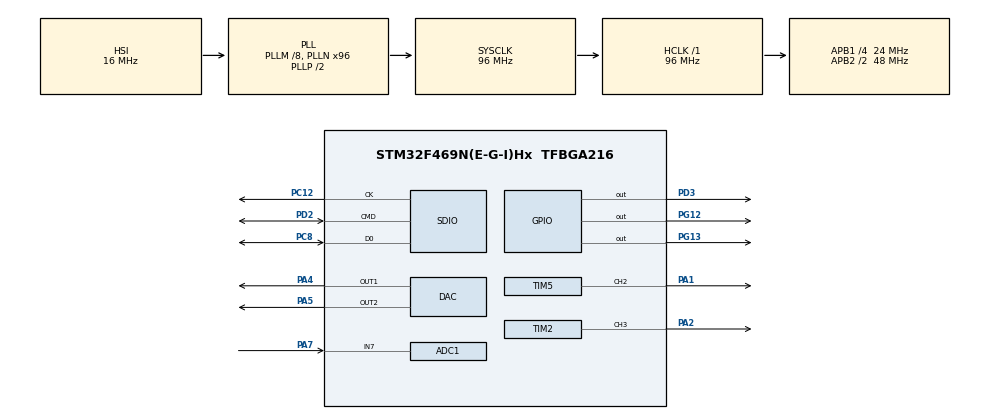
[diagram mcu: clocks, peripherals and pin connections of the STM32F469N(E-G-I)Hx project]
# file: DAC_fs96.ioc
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ADC1.Channel-0\#ChannelRegularConversion=ADC_CHANNEL_7
ADC1.NbrOfConversionFlag=1
ADC1.Rank-0\#ChannelRegularConversion=1
ADC1.SamplingTime-0\#ChannelRegularConversion=ADC_SAMPLETIME_3CYCLES
ADC1.master=1
DAC.DAC_Trigger=DAC_TRIGGER_T4_TRGO
DAC.DAC_Trigger2=DAC_TRIGGER_T4_TRGO
Dma.DAC1.0.Direction=DMA_MEMORY_TO_PERIPH
Dma.DAC1.0.FIFOMode=DMA_FIFOMODE_DISABLE
Dma.DAC1.0.Instance=DMA1_Stream5
Dma.DAC1.0.MemDataAlignment=DMA_MDATAALIGN_WORD
Dma.DAC1.0.MemInc=DMA_MINC_ENABLE
Dma.DAC1.0.Mode=DMA_CIRCULAR
Dma.DAC1.0.PeriphDataAlignment=DMA_PDATAALIGN_WORD
Dma.DAC1.0.PeriphInc=DMA_PINC_DISABLE
Dma.DAC1.0.Priority=DMA_PRIORITY_HIGH
Dma.DAC2.1.Direction=DMA_MEMORY_TO_PERIPH
Dma.DAC2.1.FIFOMode=DMA_FIFOMODE_DISABLE
Dma.DAC2.1.Instance=DMA1_Stream6
Dma.DAC2.1.MemDataAlignment=DMA_MDATAALIGN_WORD
Dma.DAC2.1.MemInc=DMA_MINC_ENABLE
Dma.DAC2.1.Mode=DMA_CIRCULAR
Dma.DAC2.1.PeriphDataAlignment=DMA_PDATAALIGN_WORD
Dma.DAC2.1.PeriphInc=DMA_PINC_DISABLE
Dma.DAC2.1.Priority=DMA_PRIORITY_HIGH
Dma.Request0=DAC1
Dma.Request1=DAC2
Mcu.Family=STM32F4
Mcu.Name=STM32F469N(E-G-I)Hx
Mcu.Package=TFBGA216
NVIC.DMA1_Stream5_IRQn=true\:0\:0\:false\:false\:true\:true
NVIC.DMA1_Stream6_IRQn=true\:0\:0\:false\:false\:true\:true
NVIC.PriorityGroup=NVIC_PRIORITYGROUP_4
PA1.Signal=S_TIM5_CH2
PA2.Signal=S_TIM2_CH3
PA4.Signal=COMP_DAC1_group
PA5.Signal=COMP_DAC2_group
PA7.Signal=ADCx_IN7
PC12.Mode=SD_1_bit
PC12.Signal=SDIO_CK
PC8.Mode=SD_1_bit
PC8.Signal=SDIO_D0
PD2.Mode=SD_1_bit
PD2.Signal=SDIO_CMD
PD3.Signal=GPIO_Output
PG12.Signal=GPIO_Output
PG13.Signal=GPIO_Output
ProjectManager.HeapSize=0x200
ProjectManager.StackSize=0x400
ProjectManager.TargetToolchain=MDK-ARM V5
RCC.AHBFreq_Value=96000000
RCC.APB1CLKDivider=RCC_HCLK_DIV4
RCC.APB1Freq_Value=24000000
RCC.APB1TimFreq_Value=48000000
RCC.APB2CLKDivider=RCC_HCLK_DIV2
RCC.APB2Freq_Value=48000000
RCC.APB2TimFreq_Value=96000000
RCC.CortexFreq_Value=96000000
RCC.HCLKFreq_Value=96000000
RCC.PLLM=8
RCC.PLLN=96
RCC.SYSCLKFreq_VALUE=96000000
RCC.SYSCLKSource=RCC_SYSCLKSOURCE_PLLCLK
RCC.USBFreq_Value=48000000
RCC.VCOOutputFreq_Value=192000000
SH.ADCx_IN7.0=ADC1_IN7,IN7
SH.COMP_DAC1_group.0=DAC_OUT1,DAC_OUT1
SH.COMP_DAC2_group.0=DAC_OUT2,DAC_OUT2
SH.S_TIM2_CH3.0=TIM2_CH3,PWM Generation3 CH3
SH.S_TIM5_CH2.0=TIM5_CH2,PWM Generation2 CH2
TIM2.Channel-PWM\ Generation3\ CH3=TIM_CHANNEL_3
TIM2.Period=65535
TIM2.Prescaler=153
TIM2.Pulse-PWM\ Generation3\ CH3=21345
TIM4.Period=249
TIM4.Prescaler=1
TIM4.TIM_MasterOutputTrigger=TIM_TRGO_UPDATE
TIM5.Channel-PWM\ Generation2\ CH2=TIM_CHANNEL_2
TIM5.Period=65535
TIM5.Prescaler=153
TIM5.Pulse-PWM\ Generation2\ CH2=43390
VP_FATFS_VS_SDIO.Mode=SDIO
VP_TIM2_VS_ClockSourceINT.Mode=Internal
VP_TIM4_VS_ClockSourceINT.Mode=Internal
VP_TIM5_VS_ClockSourceINT.Mode=Internal
board=DAC_fs96

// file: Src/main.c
/**
  ******************************************************************************
  * File Name          : main.c
  * Description        : Main program body
  ******************************************************************************
  * This notice applies to any and all portions of this file
  * that are not between comment pairs USER CODE BEGIN and
  * USER CODE END. Other portions of this file, whether
  * inserted by the user or by software development tools
  * are owned by their respective copyright owners.
  *
  * Copyright (c) 2018 STMicroelectronics International N.V.
  * All rights reserved.
  *
  * Redistribution and use in source and binary forms, with or without
  * modification, are permitted, provided that the following conditions are met:
  *
  * 1. Redistribution of source code must retain the above copyright notice,
  *    this list of conditions and the following disclaimer.
  * 2. Redistributions in binary form must reproduce the above copyright notice,
  *    this list of conditions and the following disclaimer in the documentation
  *    and/or other materials provided with the distribution.
  * 3. Neither the name of STMicroelectronics nor the names of other
  *    contributors to this software may be used to endorse or promote products
  *    derived from this software without specific written permission.
  * 4. This software, including modifications and/or derivative works of this
  *    software, must execute solely and exclusively on microcontroller or
  *    microprocessor devices manufactured by or for STMicroelectronics.
  * 5. Redistribution and use of this software other than as permitted under
  *    this license is void and will automatically terminate your rights under
  *    this license.
  *
  * THIS SOFTWARE IS PROVIDED BY STMICROELECTRONICS AND CONTRIBUTORS "AS IS"
  * AND ANY EXPRESS, IMPLIED OR STATUTORY WARRANTIES, INCLUDING, BUT NOT
  * LIMITED TO, THE IMPLIED WARRANTIES OF MERCHANTABILITY, FITNESS FOR A
  * PARTICULAR PURPOSE AND NON-INFRINGEMENT OF THIRD PARTY INTELLECTUAL PROPERTY
  * RIGHTS ARE DISCLAIMED TO THE FULLEST EXTENT PERMITTED BY LAW. IN NO EVENT
  * SHALL STMICROELECTRONICS OR CONTRIBUTORS BE LIABLE FOR ANY DIRECT, INDIRECT,
  * INCIDENTAL, SPECIAL, EXEMPLARY, OR CONSEQUENTIAL DAMAGES (INCLUDING, BUT NOT
  * LIMITED TO, PROCUREMENT OF SUBSTITUTE GOODS OR SERVICES; LOSS OF USE, DATA,
  * OR PROFITS; OR BUSINESS INTERRUPTION) HOWEVER CAUSED AND ON ANY THEORY OF
  * LIABILITY, WHETHER IN CONTRACT, STRICT LIABILITY, OR TORT (INCLUDING
  * NEGLIGENCE OR OTHERWISE) ARISING IN ANY WAY OUT OF THE USE OF THIS SOFTWARE,
  * EVEN IF ADVISED OF THE POSSIBILITY OF SUCH DAMAGE.
  *
  ******************************************************************************
  */
#include "main.h"
#include "stm32f4xx_hal.h"
#include "adc.h"
#include "dac.h"
#include "dma.h"
#include "fatfs.h"
#include "sdio.h"
#include "tim.h"
#include "gpio.h"

/* USER CODE BEGIN PV */
/* Private variables ---------------------------------------------------------*/
volatile int HalfComplete =0 ;
/* USER CODE END PV */

void SystemClock_Config(void);

/* USER CODE BEGIN PFP */
/* Private function prototypes -----------------------------------------------*/
/*void HAL_ADC_ConvHalfCpltCallback(ADC_HandleTypeDef *hadc)
{
HalfComplete = 1;
}

void HAL_ADC_ConvCpltCallback(ADC_HandleTypeDef *hadc)
{
FullComplete = 1;
}*/
/* USER CODE END PFP */

/* USER CODE BEGIN 0 */
#define DAC_NUM_Samples_Ch1 9126											// Number of samples in file 1
#define DAC_NUM_Samples_Ch2 100											// Number of samples in file 2
#define POWER_WIN_LEN 1000

int32_t offset=0;

char formattedSignal_Ch1[6*DAC_NUM_Samples_Ch1]; 			// Formatted signal ( ASCII) read from the SD Card
char formattedSignal_Ch2[6*DAC_NUM_Samples_Ch2];

uint32_t Tx_Signal_Ch1[DAC_NUM_Samples_Ch1];					// Transmitted Signal after conversion to HEX
uint32_t Tx_Signal_Ch2[DAC_NUM_Samples_Ch2];

int32_t ADC_Buffer[POWER_WIN_LEN];

// These variables to work with FAT file system

FATFS fatfs1;
FIL file1,file2;
UINT testByte1,testByte2;

// These variables for FM signal detection

int Fm_on = 0;
uint32_t Fm_sum = 0;
/* USER CODE END 0 */

int main(void)
{

  /* MCU Configuration----------------------------------------------------------*/

  /* Reset of all peripherals, Initializes the Flash interface and the Systick. */
  HAL_Init();

  /* Configure the system clock */
  SystemClock_Config();

  /* Initialize all configured peripherals */
  MX_GPIO_Init();
  MX_DMA_Init();
  MX_DAC_Init();
  MX_SDIO_SD_Init();
  MX_TIM4_Init();
  MX_FATFS_Init();
  MX_TIM2_Init();
  MX_TIM5_Init();
  MX_ADC1_Init();

  /* USER CODE BEGIN 2 */
if(f_mount(&fatfs1,SD_Path,1)==FR_OK){

			f_open(&file1,"Tx1.txt",FA_READ);
			f_read(&file1,formattedSignal_Ch1,6*DAC_NUM_Samples_Ch1 - 2,&testByte1);
			f_close(&file1);

	// Convert ASCII formatted signal to HEX

	if((6*DAC_NUM_Samples_Ch1-2)==testByte1){
	for(int i=0;i<=DAC_NUM_Samples_Ch1;i++){
	Tx_Signal_Ch1[i]=1000*(formattedSignal_Ch1[6*i]-48)+
	100*(formattedSignal_Ch1[6*i+1]-48)+10*(formattedSignal_Ch1[6*i+2]-48)+
	1*(formattedSignal_Ch1[6*i+3]-48);
}
}
}

// Read file 2 from the SD Card

			f_open(&file2,"Tx2.txt",FA_READ);
			f_read(&file2,formattedSignal_Ch1,6*DAC_NUM_Samples_Ch2-2,&testByte2);
			f_close(&file2);

// Convert ASCII formatted signal to HEX
	if((6*DAC_NUM_Samples_Ch2-2)==testByte2){
	for(int i=0;i<=DAC_NUM_Samples_Ch2;i++){
	Tx_Signal_Ch2[i]=1000*(formattedSignal_Ch1[6*i]-48)+100*(formattedSignal_Ch1[6*i+1]-48)+10*(formattedSignal_Ch1[6*i+2]-48)+1*(formattedSignal_Ch1[6*i+3]-48);
}
}

HAL_Delay(25);

//BB treshold detector !!!!!
for(uint16_t i=0;i<100;i++)
{

	HAL_ADC_Start(&hadc1);
	HAL_ADC_PollForConversion(&hadc1, 0xFFFFFFFF);
	offset = offset + HAL_ADC_GetValue(&hadc1);
	HAL_Delay(5);
}
offset = offset/100;

int32_t value=0,treshold=15000;
uint16_t f_element=0,l_element=1;

for(uint32_t i=0;i<POWER_WIN_LEN;i++)ADC_Buffer[i]=0;

	HAL_ADC_Start(&hadc1);
	HAL_ADC_PollForConversion(&hadc1, 0xFFFFFFFF);
	HAL_ADC_GetValue(&hadc1);

HAL_GPIO_WritePin(GPIOG,GPIO_PIN_13,GPIO_PIN_RESET);

while(value < treshold)
{
	HAL_GPIO_TogglePin(GPIOG,GPIO_PIN_13);

	int32_t ADC_val;

	HAL_ADC_Start(&hadc1);
	HAL_ADC_PollForConversion(&hadc1, 0xFFFFFFFF);
	ADC_val=(int32_t)HAL_ADC_GetValue(&hadc1) - offset;

	ADC_Buffer[f_element]=ADC_val;
	value = abs((int)(value + ADC_Buffer[f_element]-ADC_Buffer[l_element]));

	f_element++;
	f_element = f_element%POWER_WIN_LEN;

	l_element++;
	l_element = l_element%POWER_WIN_LEN;
}

HAL_GPIO_WritePin(GPIOG,GPIO_PIN_13,GPIO_PIN_SET);
	/*HAL_Delay(50);
	HAL_GPIO_WritePin(GPIOG,GPIO_PIN_13,GPIO_PIN_RESET);
	HAL_Delay(50);
	HAL_GPIO_WritePin(GPIOG,GPIO_PIN_13,GPIO_PIN_SET);
	HAL_Delay(50);
	HAL_GPIO_WritePin(GPIOG,GPIO_PIN_13,GPIO_PIN_RESET);
	HAL_Delay(50);	*/

NVIC_EnableIRQ(DMA1_Stream5_IRQn);
NVIC_EnableIRQ(DMA1_Stream6_IRQn);

HAL_TIM_Base_Start(&htim4);																																			// Start timer 4

//HAL_Delay(2);
HAL_DAC_Start_DMA(&hdac,DAC_CHANNEL_1,Tx_Signal_Ch1,DAC_NUM_Samples_Ch1,DAC_ALIGN_12B_R);				// Transmit Signal 1
HAL_DAC_Start_DMA(&hdac,DAC_CHANNEL_2,Tx_Signal_Ch2,DAC_NUM_Samples_Ch2,DAC_ALIGN_12B_R);				// Transmit Signal 2

  /* USER CODE END 2 */

  /* Infinite loop */
  /* USER CODE BEGIN WHILE */
  while (1)
  {
		HAL_GPIO_TogglePin(GPIOD, GPIO_PIN_3);
		HAL_Delay(100);
  /* USER CODE END WHILE */

  }

}

/** System Clock Configuration
*/
void SystemClock_Config(void)
{

  RCC_OscInitTypeDef RCC_OscInitStruct;
  RCC_ClkInitTypeDef RCC_ClkInitStruct;
  RCC_PeriphCLKInitTypeDef PeriphClkInitStruct;

    /**Configure the main internal regulator output voltage
    */
  __HAL_RCC_PWR_CLK_ENABLE();

  __HAL_PWR_VOLTAGESCALING_CONFIG(PWR_REGULATOR_VOLTAGE_SCALE3);

    /**Initializes the CPU, AHB and APB busses clocks
    */
  RCC_OscInitStruct.OscillatorType = RCC_OSCILLATORTYPE_HSI;
  RCC_OscInitStruct.HSIState = RCC_HSI_ON;
  RCC_OscInitStruct.HSICalibrationValue = 16;
  RCC_OscInitStruct.PLL.PLLState = RCC_PLL_ON;
  RCC_OscInitStruct.PLL.PLLSource = RCC_PLLSOURCE_HSI;
  RCC_OscInitStruct.PLL.PLLM = 8;
  RCC_OscInitStruct.PLL.PLLN = 96;
  RCC_OscInitStruct.PLL.PLLP = RCC_PLLP_DIV2;
  RCC_OscInitStruct.PLL.PLLQ = 4;
  RCC_OscInitStruct.PLL.PLLR = 2;
  if (HAL_RCC_OscConfig(&RCC_OscInitStruct) != HAL_OK)
  {
    _Error_Handler(__FILE__, __LINE__);
  }

    /**Initializes the CPU, AHB and APB busses clocks
    */
  RCC_ClkInitStruct.ClockType = RCC_CLOCKTYPE_HCLK|RCC_CLOCKTYPE_SYSCLK
                              |RCC_CLOCKTYPE_PCLK1|RCC_CLOCKTYPE_PCLK2;
  RCC_ClkInitStruct.SYSCLKSource = RCC_SYSCLKSOURCE_PLLCLK;
  RCC_ClkInitStruct.AHBCLKDivider = RCC_SYSCLK_DIV1;
  RCC_ClkInitStruct.APB1CLKDivider = RCC_HCLK_DIV4;
  RCC_ClkInitStruct.APB2CLKDivider = RCC_HCLK_DIV2;

  if (HAL_RCC_ClockConfig(&RCC_ClkInitStruct, FLASH_LATENCY_3) != HAL_OK)
  {
    _Error_Handler(__FILE__, __LINE__);
  }

  PeriphClkInitStruct.PeriphClockSelection = RCC_PERIPHCLK_SDIO|RCC_PERIPHCLK_CLK48;
  PeriphClkInitStruct.Clk48ClockSelection = RCC_CLK48CLKSOURCE_PLLQ;
  PeriphClkInitStruct.SdioClockSelection = RCC_SDIOCLKSOURCE_CLK48;
  if (HAL_RCCEx_PeriphCLKConfig(&PeriphClkInitStruct) != HAL_OK)
  {
    _Error_Handler(__FILE__, __LINE__);
  }

    /**Configure the Systick interrupt time
    */
  HAL_SYSTICK_Config(HAL_RCC_GetHCLKFreq()/1000);

    /**Configure the Systick
    */
  HAL_SYSTICK_CLKSourceConfig(SYSTICK_CLKSOURCE_HCLK);

  /* SysTick_IRQn interrupt configuration */
  HAL_NVIC_SetPriority(SysTick_IRQn, 0, 0);
}

void _Error_Handler(char * file, int line)
{
  while(1)
  {
  }
}

/************************ (C) COPYRIGHT STMicroelectronics *****END OF FILE****/
